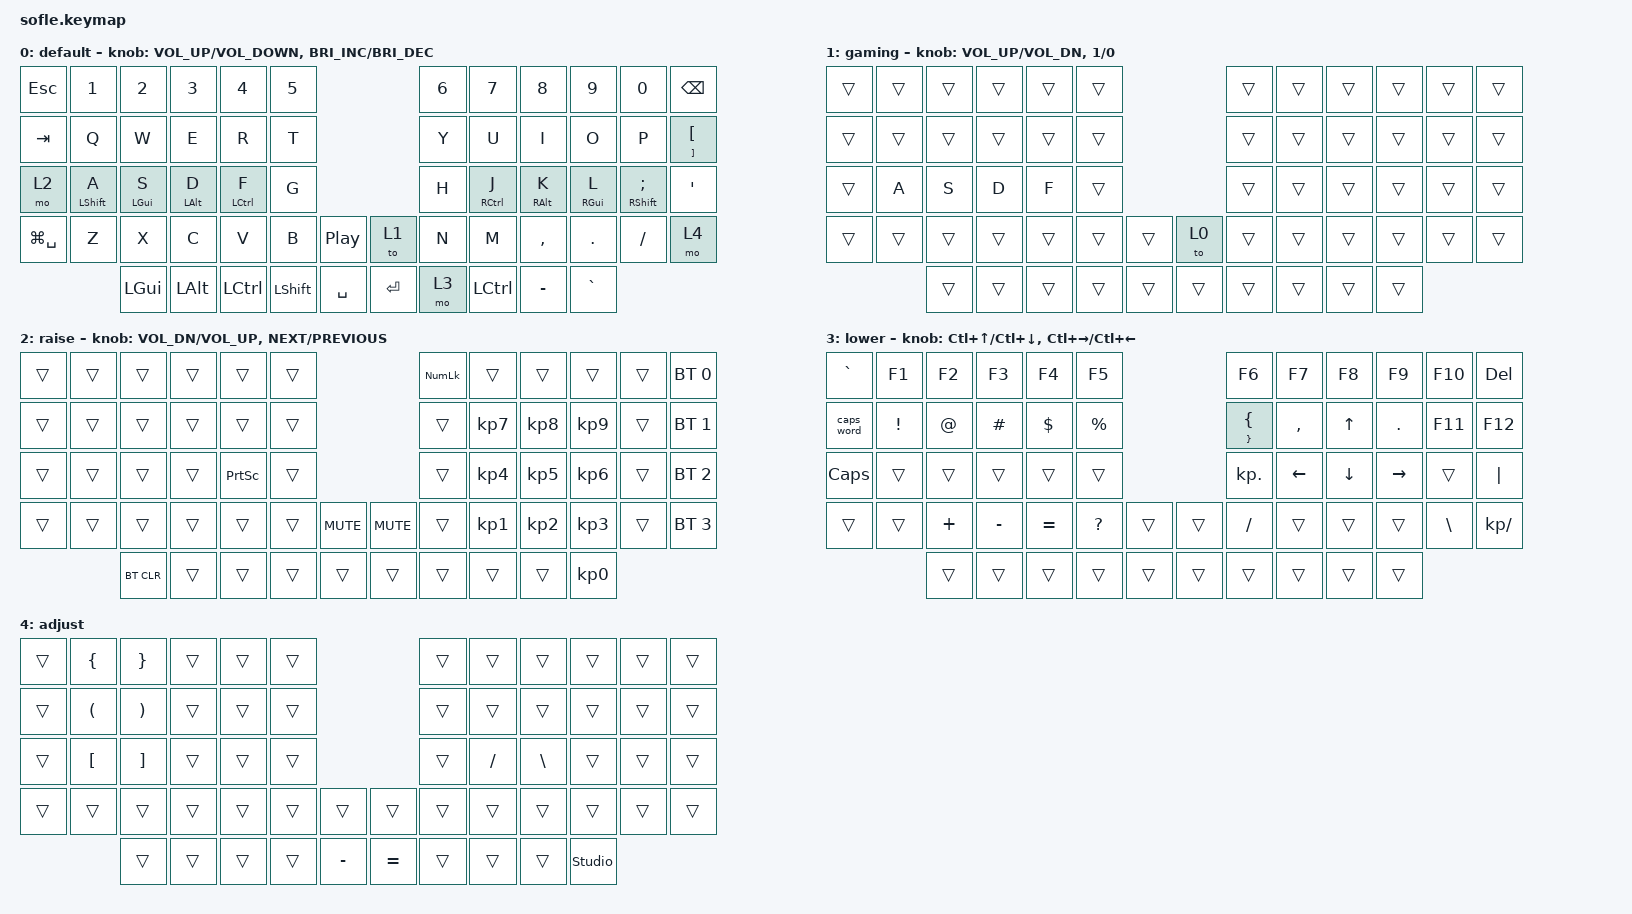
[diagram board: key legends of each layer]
/*
 * Copyright (c) 2020 The ZMK Contributors
 *
 * SPDX-License-Identifier: MIT
 */

#include "keys_ru.h"
#include <behaviors.dtsi>
#include <dt-bindings/zmk/bt.h>
#include <dt-bindings/zmk/keys.h>

#define BASE 0
#define LOWER 1
#define RAISE 2
#define ADJUST 3

/ {
    // Activate ADJUST layer by pressing raise and lower

    conditional_layers { compatible = "zmk,conditional-layers"; };

    combos { compatible = "zmk,combos"; };

    behaviors {
        hrm: hrm {
            compatible = "zmk,behavior-hold-tap";
            label = "HRM";
            bindings = <&kp>, <&kp>;

            #binding-cells = <2>;
            flavor = "balanced";
            tapping-term-ms = <200>;
            quick-tap-ms = <175>;
            require-prior-idle-ms = <150>;
            hold-trigger-on-release;
        };

        toggler_layer: toggler_layer {
            compatible = "zmk,behavior-sensor-rotate-var";
            label = "TOGGLER_LAYER";
            #sensor-binding-cells = <2>;
            bindings = <&to>, <&to>;
        };
    };

    keymap {
        compatible = "zmk,keymap";

        default_layer {
            display-name = "default";

            // ------------------------------------------------------------------------------------------------------------
            // |   `   |  1  |  2  |  3   |  4   |  5   |                   |  6   |  7    |  8    |  9   |   0   |   =   |
            // |  ESC  |  Q  |  W  |  E   |  R   |  T   |                   |  Y   |  U    |  I    |  O   |   P   |   [   |
            // |  TAB  |  A  |  S  |  D   |  F   |  G   |                   |  H   |  J    |  K    |  L   |   ;   |   ]   |
            // | LCTRL |  Z  |  X  |  C   |  V   |  B   |  MUTE  |  |       |  N   |  M    |  ,    |  .   |   /   |   '   |
            //               | GUI | DEL  |LSHIFT| LOWER|  ENTER |  | SPACE | RAISE|BACKSPC| ALT   | GUI  |

            bindings = <
&kp ESC        &kp N1        &kp N2       &kp N3       &kp N4        &kp N5                           &kp N6  &kp N7        &kp N8       &kp N9       &kp N0                 &kp BACKSPACE
&kp TAB        &kp Q         &kp W        &kp E        &kp R         &kp T                            &kp Y   &kp U         &kp I        &kp O        &kp P                  &hrm RBKT LEFT_BRACKET
&mo 2          &hrm LSHFT A  &hrm LGUI S  &hrm LALT D  &hrm LCTRL F  &kp G                            &kp H   &hrm RCTRL J  &hrm RALT K  &hrm RGUI L  &hrm RIGHT_SHIFT SEMI  &kp SQT
&kp LG(SPACE)  &kp Z         &kp X        &kp C        &kp V         &kp B      &kp C_PP     &to 1    &kp N   &kp M         &kp COMMA    &kp DOT      &kp SLASH              &mo 4
                             &kp LGUI     &kp LALT     &kp LCTRL     &kp LSHFT  &kp SPACE    &kp RET  &mo 3   &kp LCTRL     &kp MINUS    &kp GRAVE
            >;

            sensor-bindings =
                <&inc_dec_kp C_VOLUME_UP C_VOLUME_DOWN>,
                <&inc_dec_kp C_BRI_INC C_BRI_DEC>;
        };

        gaming {
            bindings = <
&trans  &trans  &trans  &trans  &trans  &trans                    &trans  &trans  &trans  &trans  &trans  &trans
&trans  &trans  &trans  &trans  &trans  &trans                    &trans  &trans  &trans  &trans  &trans  &trans
&trans  &kp A   &kp S   &kp D   &kp F   &trans                    &trans  &trans  &trans  &trans  &trans  &trans
&trans  &trans  &trans  &trans  &trans  &trans  &trans    &to 0   &trans  &trans  &trans  &trans  &trans  &trans
                &trans  &trans  &trans  &trans  &trans    &trans  &trans  &trans  &trans  &trans
            >;

            sensor-bindings =
                <&inc_dec_kp C_VOLUME_UP C_VOL_DN>,
                <&toggler_layer 1 0>;
        };

        raise_layer {
            display-name = "raise";

            // ------------------------------------------------------------------------------------------------------------
            // | BTCLR | BT1  | BT2  |  BT3  |  BT4  |  BT5 |                |      |      |       |      |       |       |
            // |       | INS  | PSCR | GUI   |       |      |                | PGUP |      |   ^   |      |       |       |
            // |       | ALT  | CTRL | SHIFT |       | CAPS |                | PGDN |   <- |   v   |  ->  |  DEL  | BKSPC |
            // |       | UNDO | CUT  | COPY  | PASTE |      |      |  |      |      |      |       |      |       |       |
            //                |      |       |       |      |      |  |      |      |      |       |      |

            bindings = <
&trans  &trans  &trans      &trans  &trans           &trans                            &kp KP_NUMLOCK  &trans           &trans           &trans           &trans  &bt BT_SEL 0
&trans  &trans  &trans      &trans  &trans           &trans                            &trans          &kp KP_NUMBER_7  &kp KP_NUMBER_8  &kp KP_NUMBER_9  &trans  &bt BT_SEL 1
&trans  &trans  &trans      &trans  &kp PRINTSCREEN  &trans                            &trans          &kp KP_NUMBER_4  &kp KP_NUMBER_5  &kp KP_NUMBER_6  &trans  &bt BT_SEL 2
&trans  &trans  &trans      &trans  &trans           &trans  &kp K_MUTE    &kp K_MUTE  &trans          &kp KP_NUMBER_1  &kp KP_NUMBER_2  &kp KP_N3        &trans  &bt BT_SEL 3
                &bt BT_CLR  &trans  &trans           &trans  &trans        &trans      &trans          &trans           &trans           &kp KP_NUMBER_0
            >;

            sensor-bindings =
                <&inc_dec_kp C_VOL_DN C_VOL_UP>,
                <&inc_dec_kp C_NEXT C_PREVIOUS>;
        };

        lower_layer {
            display-name = "lower";

            // TODO: Some binds are waiting for shifted keycode support.
            // ------------------------------------------------------------------------------------------------------------
            // |       |  F1 |  F2 |  F3  |  F4  |  F5  |                   |  F6  |  F7   |  F8   |  F9  |  F10  |  F11  |
            // |   `   |  1  |  2  |  3   |  4   |  5   |                   |  6   |  7    |  8    |  9   |   0   |  F12  |
            // |       |  !  |  @  |  #   |  $   |  %   |                   |  ^   |  &    |  *    |  (   |   )   |   |   |
            // |       |  =  |  -  |  +   |  {   |  }   |        |  |       |  [   |  ]    |  ;    |  :   |   \   |       |
            //               |     |      |      |      |        |  |       |      |       |       |      |

            bindings = <
&kp GRAVE     &kp F1    &kp F2       &kp F3     &kp F4      &kp F5                          &kp F6          &kp F7     &kp F8    &kp F9     &kp F10   &kp DELETE
&caps_word    &kp EXCL  &kp AT_SIGN  &kp POUND  &kp DOLLAR  &kp PERCENT                     &hrm RBRC LBRC  &kp COMMA  &kp UP    &kp DOT    &kp F11   &kp F12
&kp CAPSLOCK  &trans    &trans       &trans     &trans      &trans                          &kp KP_DOT      &kp LEFT   &kp DOWN  &kp RIGHT  &trans    &kp PIPE
&trans        &trans    &kp PLUS     &kp MINUS  &kp EQUAL   &kp QUESTION  &trans    &trans  &kp FSLH        &trans     &trans    &trans     &kp BSLH  &kp KP_DIVIDE
                        &trans       &trans     &trans      &trans        &trans    &trans  &trans          &trans     &trans    &trans
            >;

            sensor-bindings =
                <&inc_dec_kp LC(UP_ARROW) LC(DOWN_ARROW)>,
                <&inc_dec_kp LC(RIGHT_ARROW) LC(LEFT_ARROW)>;
        };

        adjust_layer {
            // ----------------------------------------------------------------------------------------------------------------------------
            // | BTCLR  |  BT1    |  BT2    |   BT3   |   BT4   |   BT5   |                  |      |      |       |      |       |       |
            // | EXTPWR | RGB_HUD | RGB_HUI | RGB_SAD | RGB_SAI | RGB_EFF |                  |      |      |       |      |       |       |
            // |        | RGB_BRD | RGB_BRI |         |         |         |                  |      |      |       |      |       |       |
            // |        |         |         |         |         |         | RGB_TOG | |      |      |      |       |      |       |       |
            //                    |         |         |         |         |         | |      |      |      |       |      |

            display-name = "adjust";
            bindings = <
&trans  &kp LEFT_BRACE        &kp RIGHT_BRACE        &trans  &trans  &trans                          &trans  &trans     &trans         &trans          &trans  &trans
&trans  &kp LEFT_PARENTHESIS  &kp RIGHT_PARENTHESIS  &trans  &trans  &trans                          &trans  &trans     &trans         &trans          &trans  &trans
&trans  &kp LEFT_BRACKET      &kp RIGHT_BRACKET      &trans  &trans  &trans                          &trans  &kp SLASH  &kp BACKSLASH  &trans          &trans  &trans
&trans  &trans                &trans                 &trans  &trans  &trans  &trans       &trans     &trans  &trans     &trans         &trans          &trans  &trans
                              &trans                 &trans  &trans  &trans  &kp MINUS    &kp EQUAL  &trans  &trans     &trans         &studio_unlock
            >;
        };
    };
};
